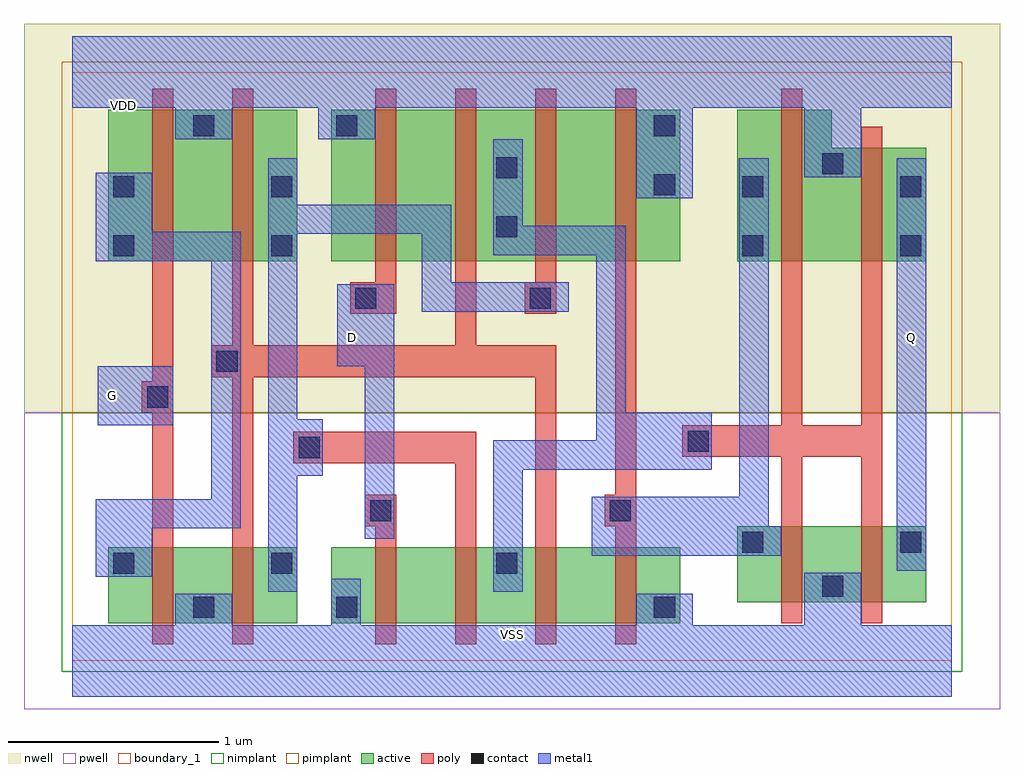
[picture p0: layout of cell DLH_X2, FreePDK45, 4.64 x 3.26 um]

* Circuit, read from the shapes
.subckt DLH_X2 D G Q VDD VSS
M1 VSS G n1 VSUBS nfet w=0.36u l=0.1u
M2 n2 n1 VSS VSUBS nfet w=0.36u l=0.1u
M3 n3 D VSS VSUBS nfet w=0.36u l=0.1u
M4 n4 n2 n3 VSUBS nfet w=0.36u l=0.1u
M5 n5 n1 n4 VSUBS nfet w=0.36u l=0.1u
M6 VSS n6 n5 VSUBS nfet w=0.36u l=0.1u
M7 VSS n4 n6 VSUBS nfet w=0.36u l=0.1u
M8 Q n4 VSS VSUBS nfet w=0.36u l=0.1u
M9 VDD G n1 n7 pfet w=0.72u l=0.1u
M10 n2 n1 VDD n7 pfet w=0.72u l=0.1u
M11 n8 D VDD n7 pfet w=0.72u l=0.1u
M12 n4 n1 n8 n7 pfet w=0.72u l=0.1u
M13 n9 n2 n4 n7 pfet w=0.72u l=0.1u
M14 VDD n6 n9 n7 pfet w=0.72u l=0.1u
M15 VDD n4 n6 n7 pfet w=0.72u l=0.1u
M16 Q n4 VDD n7 pfet w=0.54u l=0.1u
.ends

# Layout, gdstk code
import gdstk
lib = gdstk.Library(unit=1e-6, precision=1e-09)
def R(c, l, rs):  # rectangles x0, y0, x1, y1
    for r in rs: c.add(gdstk.rectangle(r[:2], r[2:], *l))
def P(c, l, *ps):  # polygons
    for p in ps: c.add(gdstk.Polygon(p, *l))
active = (1, 0)
pwell = (2, 0)
nwell = (3, 0)
nimplant = (4, 0)
pimplant = (5, 0)
poly = (9, 0)
contact = (10, 0)
metal1 = (11, 0)
boundary_1 = (235, 1)

dlh_x2 = lib.new_cell('DLH_X2')
R(dlh_x2, active, [(0.17,0.18,1.07,0.54), (1.23,0.18,2.89,0.54), (3.16,0.28,4.06,0.64), (0.17,1.9,1.07,2.62), (1.23,1.9,2.89,2.62)])
P(dlh_x2, active, [(3.16,1.9),(4.06,1.9),(4.06,2.44),(3.61,2.44),(3.61,2.62),(3.16,2.62)])
R(dlh_x2, pwell, [(-0.23,-0.23,4.41,1.18)])
R(dlh_x2, nwell, [(-0.23,1.18,4.41,3.03)])
R(dlh_x2, nimplant, [(-0.05,-0.05,4.23,1.18)])
R(dlh_x2, pimplant, [(-0.05,1.18,4.23,2.85)])
P(dlh_x2, poly, [(2.9,0.97),(3.37,0.97),(3.37,0.18),(3.47,0.18),(3.47,0.97),(3.75,0.97),(3.75,0.18),(3.85,0.18),(3.85,2.54),(3.75,2.54),(3.75,1.12),(3.47,1.12),(3.47,2.72),(3.37,2.72),(3.37,1.12),(2.9,1.12)],
  [(2.53,0.64),(2.58,0.64),(2.58,0.08),(2.68,0.08),(2.68,2.72),(2.58,2.72),(2.58,0.79),(2.53,0.79)],
  [(2.15,1.65),(2.3,1.65),(2.3,2.72),(2.2,2.72),(2.2,1.8),(2.15,1.8)],
  [(0.66,1.35),(0.76,1.35),(0.76,0.08),(0.86,0.08),(0.86,1.35),(2.2,1.35),(2.2,0.08),(2.3,0.08),(2.3,1.5),(1.92,1.5),(1.92,2.72),(1.82,2.72),(1.82,1.5),(0.86,1.5),(0.86,2.72),(0.76,2.72),(0.76,1.5),(0.66,1.5)],
  [(1.05,0.94),(1.82,0.94),(1.82,0.08),(1.92,0.08),(1.92,1.09),(1.05,1.09)],
  [(1.32,1.65),(1.54,1.65),(1.54,2.72),(1.44,2.72),(1.44,1.8),(1.32,1.8)],
  [(1.39,0.64),(1.44,0.64),(1.44,0.08),(1.54,0.08),(1.54,0.79),(1.39,0.79)],
  [(0.33,1.18),(0.38,1.18),(0.38,0.08),(0.48,0.08),(0.48,2.72),(0.38,2.72),(0.38,1.33),(0.33,1.33)])
R(dlh_x2, contact, [(0.575,0.205,0.675,0.305), (1.255,0.205,1.355,0.305), (2.765,0.205,2.865,0.305), (3.565,0.305,3.665,0.405), (0.195,0.415,0.295,0.515), (0.945,0.415,1.045,0.515), (2.015,0.415,2.115,0.515), (3.185,0.515,3.285,0.615), (3.935,0.515,4.035,0.615), (1.415,0.665,1.515,0.765), (2.555,0.665,2.655,0.765), (1.075,0.965,1.175,1.065), (2.925,0.995,3.025,1.095), (0.355,1.205,0.455,1.305), (0.685,1.375,0.785,1.475), (1.345,1.675,1.445,1.775), (2.175,1.675,2.275,1.775), (0.195,1.925,0.295,2.025), (0.945,1.925,1.045,2.025), (3.185,1.925,3.285,2.025), (3.935,1.925,4.035,2.025), (2.015,2.015,2.115,2.115), (0.195,2.205,0.295,2.305), (0.945,2.205,1.045,2.305), (3.185,2.205,3.285,2.305), (3.935,2.205,4.035,2.305), (2.765,2.215,2.865,2.315), (2.015,2.295,2.115,2.395), (3.565,2.315,3.665,2.415), (0.575,2.495,0.675,2.595), (1.255,2.495,1.355,2.595), (2.765,2.495,2.865,2.595)])
R(dlh_x2, metal1, [(3.92,0.43,4.06,2.39), (3.92,0.43,4.06,2.39), (0.12,1.12,0.48,1.4), (0.12,1.12,0.48,1.4)])
P(dlh_x2, metal1, [(1.26,1.4),(1.39,1.4),(1.39,0.58),(1.53,0.58),(1.53,1.79),(1.26,1.79)],
  [(0,-0.17),(4.18,-0.17),(4.18,0.17),(3.75,0.17),(3.75,0.42),(3.48,0.42),(3.48,0.17),(2.95,0.17),(2.95,0.32),(2.68,0.32),(2.68,0.17),(1.37,0.17),(1.37,0.39),(1.23,0.39),(1.23,0.17),(0.76,0.17),(0.76,0.32),(0.49,0.32),(0.49,0.17),(0,0.17)],
  [(0,2.63),(0.49,2.63),(0.49,2.48),(0.76,2.48),(0.76,2.63),(1.17,2.63),(1.17,2.48),(1.44,2.48),(1.44,2.63),(2.68,2.63),(2.68,2.2),(2.95,2.2),(2.95,2.63),(3.48,2.63),(3.48,2.3),(3.75,2.3),(3.75,2.63),(4.18,2.63),(4.18,2.97),(0,2.97)],
  [(0,2.63),(0.49,2.63),(0.49,2.48),(0.76,2.48),(0.76,2.63),(1.17,2.63),(1.17,2.48),(1.44,2.48),(1.44,2.63),(2.68,2.63),(2.68,2.2),(2.95,2.2),(2.95,2.63),(3.48,2.63),(3.48,2.3),(3.75,2.3),(3.75,2.63),(4.18,2.63),(4.18,2.97),(0,2.97)],
  [(0,-0.17),(4.18,-0.17),(4.18,0.17),(3.75,0.17),(3.75,0.42),(3.48,0.42),(3.48,0.17),(2.95,0.17),(2.95,0.32),(2.68,0.32),(2.68,0.17),(1.37,0.17),(1.37,0.39),(1.23,0.39),(1.23,0.17),(0.76,0.17),(0.76,0.32),(0.49,0.32),(0.49,0.17),(0,0.17)],
  [(2.47,0.5),(3.37,0.5),(3.37,0.64),(3.31,0.64),(3.31,2.39),(3.17,2.39),(3.17,0.78),(2.47,0.78)],
  [(2,1.93),(2.49,1.93),(2.49,1.05),(2,1.05),(2,0.33),(2.14,0.33),(2.14,0.91),(3.04,0.91),(3.04,1.18),(2.63,1.18),(2.63,2.07),(2.14,2.07),(2.14,2.48),(2,2.48)],
  [(1.07,2.03),(1.66,2.03),(1.66,1.66),(2.36,1.66),(2.36,1.8),(1.8,1.8),(1.8,2.17),(1.07,2.17),(1.07,2.39),(0.93,2.39),(0.93,0.33),(1.07,0.33),(1.07,0.88),(1.19,0.88),(1.19,1.15),(1.07,1.15)],
  [(1.26,1.4),(1.39,1.4),(1.39,0.58),(1.53,0.58),(1.53,1.79),(1.26,1.79)],
  [(0.11,1.9),(0.66,1.9),(0.66,0.77),(0.11,0.77),(0.11,0.4),(0.38,0.4),(0.38,0.63),(0.8,0.63),(0.8,2.04),(0.38,2.04),(0.38,2.32),(0.11,2.32)])
R(dlh_x2, boundary_1, [(0,0,4.18,2.8)])
dlh_x2.add(gdstk.Label('VSS', (2.09,0.125), layer=11, texttype=0))
dlh_x2.add(gdstk.Label('VDD', (0.245,2.64), layer=11, texttype=0))
dlh_x2.add(gdstk.Label('Q', (3.99,1.54), layer=11, texttype=0))
dlh_x2.add(gdstk.Label('G', (0.19,1.26), layer=11, texttype=0))
dlh_x2.add(gdstk.Label('D', (1.33,1.54), layer=11, texttype=0))

lib.write_gds('DLH_X2.gds')
